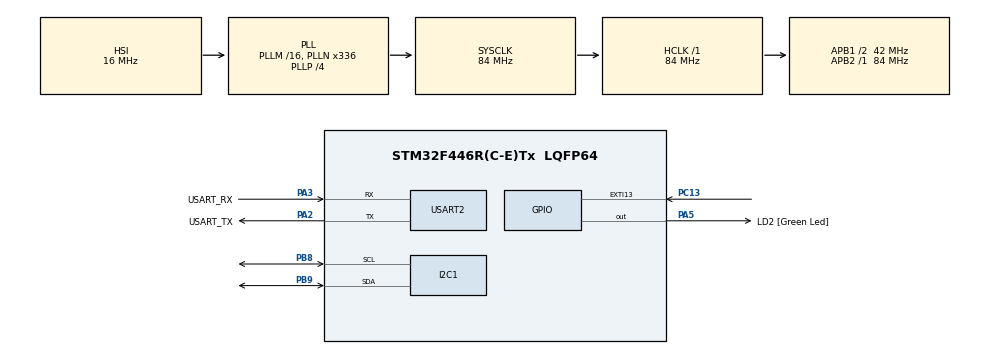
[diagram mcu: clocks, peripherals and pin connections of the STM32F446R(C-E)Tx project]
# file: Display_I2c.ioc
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Mcu.Family=STM32F4
Mcu.Name=STM32F446R(C-E)Tx
Mcu.Package=LQFP64
NVIC.EXTI15_10_IRQn=true\:0\:0\:false\:false\:true\:true\:true\:true
NVIC.PriorityGroup=NVIC_PRIORITYGROUP_0
PA13.GPIO_Label=TMS
PA13.Mode=Serial_Wire
PA13.Signal=SYS_JTMS-SWDIO
PA14.GPIO_Label=TCK
PA14.Mode=Serial_Wire
PA14.Signal=SYS_JTCK-SWCLK
PA2.GPIO_Label=USART_TX
PA2.Mode=Asynchronous
PA2.Signal=USART2_TX
PA3.GPIO_Label=USART_RX
PA3.Mode=Asynchronous
PA3.Signal=USART2_RX
PA5.GPIO_Label=LD2 [Green Led]
PA5.Signal=GPIO_Output
PB3.GPIO_Label=SWO
PB3.Signal=SYS_JTDO-SWO
PB8.Mode=I2C
PB8.Signal=I2C1_SCL
PB9.Mode=I2C
PB9.Signal=I2C1_SDA
PC13.Signal=GPXTI13
PC14-OSC32_IN.Mode=LSE-External-Oscillator
PC14-OSC32_IN.Signal=RCC_OSC32_IN
PC15-OSC32_OUT.Mode=LSE-External-Oscillator
PC15-OSC32_OUT.Signal=RCC_OSC32_OUT
PH0-OSC_IN.Mode=HSE-External-Oscillator
PH0-OSC_IN.Signal=RCC_OSC_IN
PH1-OSC_OUT.Mode=HSE-External-Oscillator
PH1-OSC_OUT.Signal=RCC_OSC_OUT
ProjectManager.HeapSize=0x200
ProjectManager.StackSize=0x400
ProjectManager.TargetToolchain=STM32CubeIDE
RCC.48MHZClocksFreq_Value=84000000
RCC.AHBFreq_Value=84000000
RCC.APB1CLKDivider=RCC_HCLK_DIV2
RCC.APB1Freq_Value=42000000
RCC.APB1TimFreq_Value=84000000
RCC.APB2Freq_Value=84000000
RCC.APB2TimFreq_Value=84000000
RCC.CortexFreq_Value=84000000
RCC.FLatency-AdvancedSettings=FLASH_LATENCY_2
RCC.HCLKFreq_Value=84000000
RCC.HSE_VALUE=8000000
RCC.HSI_VALUE=16000000
RCC.PLLN=336
RCC.PLLP=RCC_PLLP_DIV4
RCC.SYSCLKFreq_VALUE=84000000
RCC.SYSCLKSource=RCC_SYSCLKSOURCE_PLLCLK
RCC.USBFreq_Value=168000000
RCC.VCOOutputFreq_Value=336000000
USART2.VirtualMode=VM_ASYNC
board=NUCLEO-F446RE

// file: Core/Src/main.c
/* USER CODE BEGIN Header */
/**
  ******************************************************************************
  * @file           : main.c
  * @brief          : Main program body
  ******************************************************************************
  * @attention
  *
  * Copyright (c) 2026 STMicroelectronics.
  * All rights reserved.
  *
  * This software is licensed under terms that can be found in the LICENSE file
  * in the root directory of this software component.
  * If no LICENSE file comes with this software, it is provided AS-IS.
  *
  ******************************************************************************
  */
/* USER CODE END Header */
#include "main.h"
#include <stdio.h>
/* USER CODE BEGIN Includes */
#include "ina260.h"
#include "oled.h"
#include "motor.h"
/* USER CODE END Includes */

/* USER CODE BEGIN PD */
#define OLED_ADDRESS 0x3C
/* USER CODE END PD */

I2C_HandleTypeDef hi2c1;

UART_HandleTypeDef huart2;

/* USER CODE BEGIN PV */
/*
 * motor_running:
 *   0 = motors stopped (default at power-up)
 *   1 = motors running forward
 *
 * PC13 user button toggles this flag via EXTI callback.
 * Press once = start forward. Press again = stop.
 */
volatile uint8_t motor_running = 0;
/* USER CODE END PV */

void SystemClock_Config(void);
static void MX_GPIO_Init(void);
static void MX_USART2_UART_Init(void);
void MX_I2C1_Init(void);
/* USER CODE BEGIN PFP */

void OLED_ShowReadings(float voltage, float current_ma);

/* USER CODE END PFP */

int main(void)
{

  /* MCU Configuration--------------------------------------------------------*/

  /* Reset of all peripherals, Initializes the Flash interface and the Systick. */
  HAL_Init();

  /* Configure the system clock */
  SystemClock_Config();

  /* Initialize all configured peripherals */
  MX_GPIO_Init();
  MX_USART2_UART_Init();
  MX_I2C1_Init();
  INA260_Init();
  /* USER CODE BEGIN 2 */

  /* Motor GPIO — all LOW (stopped) at init */
  Motor_GPIO_Init();

  OLED_Init();

  HAL_Delay(200);

  OLED_BootScreen();

  /* USER CODE END 2 */

  /* Infinite loop */
  /* USER CODE BEGIN WHILE */
  while (1)
  {
      /* ---- Read sensors ---- */
      float vbus       = INA260_ReadBusVoltage_V();
      float current_ma = INA260_ReadCurrent_mA();

      /* ---- Update display ---- */
      OLED_ShowReadings(vbus, current_ma);

      /* ---- Motor control via button toggle ---- */
      if (motor_running)
      {
          Motor_Forward();
      }
      else
      {
          Motor_Stop();
      }

      /* ---- Heartbeat LED ---- */
      HAL_GPIO_TogglePin(LD2_GPIO_Port, LD2_Pin);

      HAL_Delay(200);
  }
  /* USER CODE END WHILE */
}

void SystemClock_Config(void)
{
  RCC_OscInitTypeDef RCC_OscInitStruct = {0};
  RCC_ClkInitTypeDef RCC_ClkInitStruct = {0};

  /** Configure the main internal regulator output voltage
  */
  __HAL_RCC_PWR_CLK_ENABLE();
  __HAL_PWR_VOLTAGESCALING_CONFIG(PWR_REGULATOR_VOLTAGE_SCALE3);

  /** Initializes the RCC Oscillators according to the specified parameters
  * in the RCC_OscInitTypeDef structure.
  */
  RCC_OscInitStruct.OscillatorType = RCC_OSCILLATORTYPE_HSI;
  RCC_OscInitStruct.HSIState = RCC_HSI_ON;
  RCC_OscInitStruct.HSICalibrationValue = RCC_HSICALIBRATION_DEFAULT;
  RCC_OscInitStruct.PLL.PLLState = RCC_PLL_ON;
  RCC_OscInitStruct.PLL.PLLSource = RCC_PLLSOURCE_HSI;
  RCC_OscInitStruct.PLL.PLLM = 16;
  RCC_OscInitStruct.PLL.PLLN = 336;
  RCC_OscInitStruct.PLL.PLLP = RCC_PLLP_DIV4;
  RCC_OscInitStruct.PLL.PLLQ = 2;
  RCC_OscInitStruct.PLL.PLLR = 2;
  if (HAL_RCC_OscConfig(&RCC_OscInitStruct) != HAL_OK)
  {
    Error_Handler();
  }

  /** Initializes the CPU, AHB and APB buses clocks
  */
  RCC_ClkInitStruct.ClockType = RCC_CLOCKTYPE_HCLK|RCC_CLOCKTYPE_SYSCLK
                              |RCC_CLOCKTYPE_PCLK1|RCC_CLOCKTYPE_PCLK2;
  RCC_ClkInitStruct.SYSCLKSource = RCC_SYSCLKSOURCE_PLLCLK;
  RCC_ClkInitStruct.AHBCLKDivider = RCC_SYSCLK_DIV1;
  RCC_ClkInitStruct.APB1CLKDivider = RCC_HCLK_DIV2;
  RCC_ClkInitStruct.APB2CLKDivider = RCC_HCLK_DIV1;

  if (HAL_RCC_ClockConfig(&RCC_ClkInitStruct, FLASH_LATENCY_2) != HAL_OK)
  {
    Error_Handler();
  }
}

void MX_I2C1_Init(void)
{

  hi2c1.Instance = I2C1;
  hi2c1.Init.ClockSpeed = 100000;
  hi2c1.Init.DutyCycle = I2C_DUTYCYCLE_2;
  hi2c1.Init.OwnAddress1 = 0;
  hi2c1.Init.AddressingMode = I2C_ADDRESSINGMODE_7BIT;
  hi2c1.Init.DualAddressMode = I2C_DUALADDRESS_DISABLE;
  hi2c1.Init.OwnAddress2 = 0;
  hi2c1.Init.GeneralCallMode = I2C_GENERALCALL_DISABLE;
  hi2c1.Init.NoStretchMode = I2C_NOSTRETCH_DISABLE;
  if (HAL_I2C_Init(&hi2c1) != HAL_OK)
  {
    Error_Handler();
  }

}

static void MX_USART2_UART_Init(void)
{

  huart2.Instance = USART2;
  huart2.Init.BaudRate = 115200;
  huart2.Init.WordLength = UART_WORDLENGTH_8B;
  huart2.Init.StopBits = UART_STOPBITS_1;
  huart2.Init.Parity = UART_PARITY_NONE;
  huart2.Init.Mode = UART_MODE_TX_RX;
  huart2.Init.HwFlowCtl = UART_HWCONTROL_NONE;
  huart2.Init.OverSampling = UART_OVERSAMPLING_16;
  if (HAL_UART_Init(&huart2) != HAL_OK)
  {
    Error_Handler();
  }

}

static void MX_GPIO_Init(void)
{
  GPIO_InitTypeDef GPIO_InitStruct = {0};

  /* GPIO Ports Clock Enable */
  __HAL_RCC_GPIOC_CLK_ENABLE();
  __HAL_RCC_GPIOH_CLK_ENABLE();
  __HAL_RCC_GPIOA_CLK_ENABLE();
  __HAL_RCC_GPIOB_CLK_ENABLE();

  /*Configure GPIO pin Output Level */
  HAL_GPIO_WritePin(LD2_GPIO_Port, LD2_Pin, GPIO_PIN_RESET);

  /*Configure GPIO pin : PC13 */
  GPIO_InitStruct.Pin = GPIO_PIN_13;
  GPIO_InitStruct.Mode = GPIO_MODE_IT_RISING;
  GPIO_InitStruct.Pull = GPIO_NOPULL;
  HAL_GPIO_Init(GPIOC, &GPIO_InitStruct);

  /*Configure GPIO pin : LD2_Pin */
  GPIO_InitStruct.Pin = LD2_Pin;
  GPIO_InitStruct.Mode = GPIO_MODE_OUTPUT_PP;
  GPIO_InitStruct.Pull = GPIO_NOPULL;
  GPIO_InitStruct.Speed = GPIO_SPEED_FREQ_LOW;
  HAL_GPIO_Init(LD2_GPIO_Port, &GPIO_InitStruct);

  /* EXTI interrupt init*/
  HAL_NVIC_SetPriority(EXTI15_10_IRQn, 0, 0);
  HAL_NVIC_EnableIRQ(EXTI15_10_IRQn);

}

/* USER CODE BEGIN 4 */

/**
 * @brief  Display voltage and current on OLED.
 *         Layout (128x64 SSD1306):
 *
 *         Line 1 (y=2):   "ROVER BMS"          (title)
 *         Line 2 (y=11):  ──────────────────    (separator)
 *         Line 3 (y=18):  "V: 12.34 V"         (bus voltage)
 *         Line 4 (y=32):  "I: 1234 MA"         (current in mA)
 *         Line 5 (y=46):  "MTR: ON" or "MTR: OFF"
 *
 *         Font is uppercase only (A-Z, 0-9, - : . %)
 */
void OLED_ShowReadings(float voltage, float current_ma)
{
    char volt_text[22];
    char curr_text[22];
    char mtr_text[22];

    /* ---- Format voltage string ---- */
    if (voltage < 0.0f)
    {
        /* INA260 read failed */
        snprintf(volt_text, sizeof(volt_text), "V: ERR");
    }
    else
    {
        /*
         * Integer formatting to avoid pulling in float printf.
         * Example: 12.34V -> whole=12, frac=34
         */
        int v_whole = (int)voltage;
        int v_frac  = (int)((voltage - v_whole) * 100);
        if (v_frac < 0) v_frac = -v_frac;   /* guard against negative fraction */
        snprintf(volt_text, sizeof(volt_text), "V: %d.%02d V", v_whole, v_frac);
    }

    /* ---- Format current string ---- */
    if (current_ma < -9000.0f)
    {
        /* INA260 read failed (sentinel is -9999) */
        snprintf(curr_text, sizeof(curr_text), "I: ERR");
    }
    else
    {
        /*
         * Display current as integer mA — sufficient for rover demo.
         * Negative values = reverse current direction.
         */
        int i_whole = (int)current_ma;
        snprintf(curr_text, sizeof(curr_text), "I: %d MA", i_whole);
    }

    /* ---- Motor status string ---- */
    if (motor_running)
    {
        snprintf(mtr_text, sizeof(mtr_text), "MTR: ON");
    }
    else
    {
        snprintf(mtr_text, sizeof(mtr_text), "MTR: OFF");
    }

    /* ---- Draw everything ---- */
    OLED_Clear();

    OLED_DrawString(34, 2, "ROVER BMS");

    /* Horizontal separator line */
    for (uint8_t x = 0; x < 128; x++)
        OLED_DrawPixel(x, 11, 1);

    OLED_DrawString(5, 18, volt_text);
    OLED_DrawString(5, 32, curr_text);
    OLED_DrawString(5, 46, mtr_text);

    OLED_Update();
}

/**
 * @brief  EXTI callback — PC13 user button toggles motor_running flag.
 *
 *         Simple software debounce: ignore presses within 300ms of last.
 *         This is adequate for a demo; for production use a hardware
 *         debounce RC + Schmitt or a timer-based debounce.
 */
void HAL_GPIO_EXTI_Callback(uint16_t GPIO_Pin)
{
    if (GPIO_Pin == GPIO_PIN_13)
    {
        /* Software debounce — 300ms lockout */
        static uint32_t last_press = 0;
        uint32_t now = HAL_GetTick();

        if ((now - last_press) > 300)
        {
            motor_running = !motor_running;
            last_press = now;
        }
    }
}

/* USER CODE END 4 */

void Error_Handler(void)
{
  __disable_irq();
  while (1)
  {
  }
}
